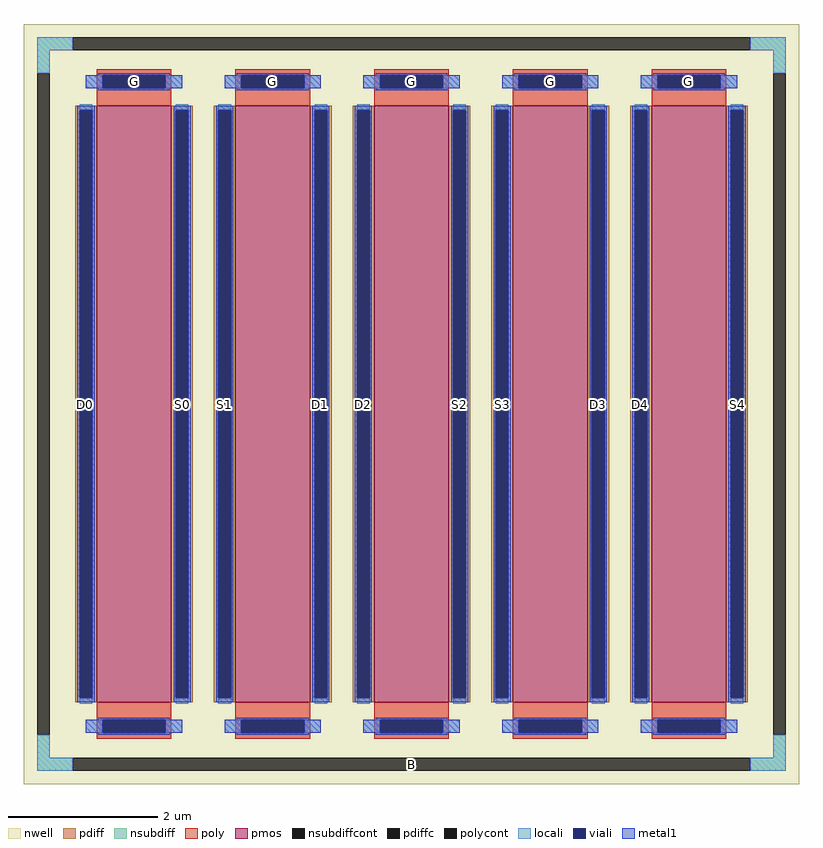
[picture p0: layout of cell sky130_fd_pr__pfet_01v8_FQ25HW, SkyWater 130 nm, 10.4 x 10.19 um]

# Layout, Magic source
magic
tech sky130A
magscale 1 2
<< nwell >>
rect -1040 -1019 1040 1019
<< pmos >>
rect -844 -800 -644 800
rect -472 -800 -272 800
rect -100 -800 100 800
rect 272 -800 472 800
rect 644 -800 844 800
<< pdiff >>
rect -902 788 -844 800
rect -902 -788 -890 788
rect -856 -788 -844 788
rect -902 -800 -844 -788
rect -644 788 -586 800
rect -644 -788 -632 788
rect -598 -788 -586 788
rect -644 -800 -586 -788
rect -530 788 -472 800
rect -530 -788 -518 788
rect -484 -788 -472 788
rect -530 -800 -472 -788
rect -272 788 -214 800
rect -272 -788 -260 788
rect -226 -788 -214 788
rect -272 -800 -214 -788
rect -158 788 -100 800
rect -158 -788 -146 788
rect -112 -788 -100 788
rect -158 -800 -100 -788
rect 100 788 158 800
rect 100 -788 112 788
rect 146 -788 158 788
rect 100 -800 158 -788
rect 214 788 272 800
rect 214 -788 226 788
rect 260 -788 272 788
rect 214 -800 272 -788
rect 472 788 530 800
rect 472 -788 484 788
rect 518 -788 530 788
rect 472 -800 530 -788
rect 586 788 644 800
rect 586 -788 598 788
rect 632 -788 644 788
rect 586 -800 644 -788
rect 844 788 902 800
rect 844 -788 856 788
rect 890 -788 902 788
rect 844 -800 902 -788
<< pdiffc >>
rect -890 -788 -856 788
rect -632 -788 -598 788
rect -518 -788 -484 788
rect -260 -788 -226 788
rect -146 -788 -112 788
rect 112 -788 146 788
rect 226 -788 260 788
rect 484 -788 518 788
rect 598 -788 632 788
rect 856 -788 890 788
<< nsubdiff >>
rect -1004 949 -908 983
rect 908 949 1004 983
rect -1004 887 -970 949
rect 970 887 1004 949
rect -1004 -949 -970 -887
rect 970 -949 1004 -887
rect -1004 -983 -908 -949
rect 908 -983 1004 -949
<< nsubdiffcont >>
rect -908 949 908 983
rect -1004 -887 -970 887
rect 970 -887 1004 887
rect -908 -983 908 -949
<< poly >>
rect -844 881 -644 897
rect -844 847 -828 881
rect -660 847 -644 881
rect -844 800 -644 847
rect -472 881 -272 897
rect -472 847 -456 881
rect -288 847 -272 881
rect -472 800 -272 847
rect -100 881 100 897
rect -100 847 -84 881
rect 84 847 100 881
rect -100 800 100 847
rect 272 881 472 897
rect 272 847 288 881
rect 456 847 472 881
rect 272 800 472 847
rect 644 881 844 897
rect 644 847 660 881
rect 828 847 844 881
rect 644 800 844 847
rect -844 -847 -644 -800
rect -844 -881 -828 -847
rect -660 -881 -644 -847
rect -844 -897 -644 -881
rect -472 -847 -272 -800
rect -472 -881 -456 -847
rect -288 -881 -272 -847
rect -472 -897 -272 -881
rect -100 -847 100 -800
rect -100 -881 -84 -847
rect 84 -881 100 -847
rect -100 -897 100 -881
rect 272 -847 472 -800
rect 272 -881 288 -847
rect 456 -881 472 -847
rect 272 -897 472 -881
rect 644 -847 844 -800
rect 644 -881 660 -847
rect 828 -881 844 -847
rect 644 -897 844 -881
<< polycont >>
rect -828 847 -660 881
rect -456 847 -288 881
rect -84 847 84 881
rect 288 847 456 881
rect 660 847 828 881
rect -828 -881 -660 -847
rect -456 -881 -288 -847
rect -84 -881 84 -847
rect 288 -881 456 -847
rect 660 -881 828 -847
<< locali >>
rect -1004 949 -908 983
rect 908 949 1004 983
rect -1004 887 -970 949
rect 970 887 1004 949
rect -873 847 -828 881
rect -660 847 -615 881
rect -501 847 -456 881
rect -288 847 -243 881
rect -129 847 -84 881
rect 84 847 129 881
rect 243 847 288 881
rect 456 847 501 881
rect 615 847 660 881
rect 828 847 873 881
rect -890 788 -856 804
rect -890 -804 -856 -788
rect -632 788 -598 804
rect -632 -804 -598 -788
rect -518 788 -484 804
rect -518 -804 -484 -788
rect -260 788 -226 804
rect -260 -804 -226 -788
rect -146 788 -112 804
rect -146 -804 -112 -788
rect 112 788 146 804
rect 112 -804 146 -788
rect 226 788 260 804
rect 226 -804 260 -788
rect 484 788 518 804
rect 484 -804 518 -788
rect 598 788 632 804
rect 598 -804 632 -788
rect 856 788 890 804
rect 856 -804 890 -788
rect -873 -881 -828 -847
rect -660 -881 -615 -847
rect -501 -881 -456 -847
rect -288 -881 -243 -847
rect -129 -881 -84 -847
rect 84 -881 129 -847
rect 243 -881 288 -847
rect 456 -881 501 -847
rect 615 -881 660 -847
rect 828 -881 873 -847
rect -1004 -949 -970 -887
rect 970 -949 1004 -887
rect -1004 -983 -908 -949
rect 908 -983 1004 -949
<< viali >>
rect -828 847 -660 881
rect -456 847 -288 881
rect -84 847 84 881
rect 288 847 456 881
rect 660 847 828 881
rect -890 -788 -856 788
rect -632 -788 -598 788
rect -518 -788 -484 788
rect -260 -788 -226 788
rect -146 -788 -112 788
rect 112 -788 146 788
rect 226 -788 260 788
rect 484 -788 518 788
rect 598 -788 632 788
rect 856 -788 890 788
rect -828 -881 -660 -847
rect -456 -881 -288 -847
rect -84 -881 84 -847
rect 288 -881 456 -847
rect 660 -881 828 -847
<< metal1 >>
rect -840 881 -648 887
rect -468 881 -276 887
rect -96 881 96 887
rect 276 881 468 887
rect 648 881 840 887
rect -873 847 -828 881
rect -660 847 -615 881
rect -501 847 -456 881
rect -288 847 -243 881
rect -129 847 -84 881
rect 84 847 129 881
rect 243 847 288 881
rect 456 847 501 881
rect 615 847 660 881
rect 828 847 873 881
rect -840 841 -648 847
rect -468 841 -276 847
rect -96 841 96 847
rect 276 841 468 847
rect 648 841 840 847
rect -896 788 -850 800
rect -896 -788 -890 788
rect -856 -788 -850 788
rect -896 -800 -850 -788
rect -638 788 -592 800
rect -638 -788 -632 788
rect -598 -788 -592 788
rect -638 -800 -592 -788
rect -524 788 -478 800
rect -524 -788 -518 788
rect -484 -788 -478 788
rect -524 -800 -478 -788
rect -266 788 -220 800
rect -266 -788 -260 788
rect -226 -788 -220 788
rect -266 -800 -220 -788
rect -152 788 -106 800
rect -152 -788 -146 788
rect -112 -788 -106 788
rect -152 -800 -106 -788
rect 106 788 152 800
rect 106 -788 112 788
rect 146 -788 152 788
rect 106 -800 152 -788
rect 220 788 266 800
rect 220 -788 226 788
rect 260 -788 266 788
rect 220 -800 266 -788
rect 478 788 524 800
rect 478 -788 484 788
rect 518 -788 524 788
rect 478 -800 524 -788
rect 592 788 638 800
rect 592 -788 598 788
rect 632 -788 638 788
rect 592 -800 638 -788
rect 850 788 896 800
rect 850 -788 856 788
rect 890 -788 896 788
rect 850 -800 896 -788
rect -840 -847 -648 -841
rect -468 -847 -276 -841
rect -96 -847 96 -841
rect 276 -847 468 -841
rect 648 -847 840 -841
rect -873 -881 -828 -847
rect -660 -881 -615 -847
rect -501 -881 -456 -847
rect -288 -881 -243 -847
rect -129 -881 -84 -847
rect 84 -881 129 -847
rect 243 -881 288 -847
rect 456 -881 501 -847
rect 615 -881 660 -847
rect 828 -881 873 -847
rect -840 -887 -648 -881
rect -468 -887 -276 -881
rect -96 -887 96 -881
rect 276 -887 468 -881
rect 648 -887 840 -881
<< labels >>
rlabel nsubdiffcont 0 -966 0 -966 0 B
port 1 nsew
rlabel pdiffc -873 0 -873 0 0 D0
port 2 nsew
rlabel pdiffc -615 0 -615 0 0 S0
port 3 nsew
rlabel polycont -744 864 -744 864 0 G
port 4 nsew
rlabel pdiffc -243 0 -243 0 0 D1
port 5 nsew
rlabel pdiffc -501 0 -501 0 0 S1
port 6 nsew
rlabel polycont -372 864 -372 864 0 G
port 4 nsew
rlabel pdiffc -129 0 -129 0 0 D2
port 7 nsew
rlabel pdiffc 129 0 129 0 0 S2
port 8 nsew
rlabel polycont 0 864 0 864 0 G
port 4 nsew
rlabel pdiffc 501 0 501 0 0 D3
port 9 nsew
rlabel pdiffc 243 0 243 0 0 S3
port 10 nsew
rlabel polycont 372 864 372 864 0 G
port 4 nsew
rlabel pdiffc 615 0 615 0 0 D4
port 11 nsew
rlabel pdiffc 873 0 873 0 0 S4
port 12 nsew
rlabel polycont 744 864 744 864 0 G
port 4 nsew
<< properties >>
string FIXED_BBOX -987 -966 987 966
string gencell sky130_fd_pr__pfet_01v8
string library sky130
string parameters w 8 l 1.0 m 1 nf 5 diffcov 100 polycov 100 guard 1 glc 1 grc 1 gtc 1 gbc 1 tbcov 100 rlcov 100 topc 1 botc 1 poverlap 0 doverlap 0 lmin 0.15 wmin 0.42 class mosfet compatible {sky130_fd_pr__pfet_01v8  sky130_fd_pr__pfet_01v8_lvt sky130_fd_pr__pfet_01v8_hvt  sky130_fd_pr__pfet_g5v0d10v5} full_metal 1 conn_gates 1 viasrc 100 viadrn 100 viagate 100 viagb 0 viagr 0 viagl 0 viagt 0 doports 1
<< end >>
